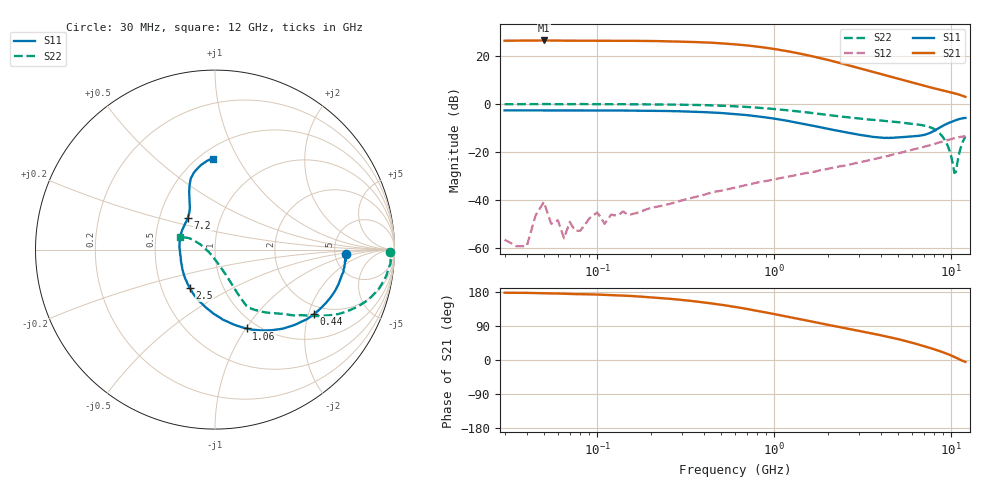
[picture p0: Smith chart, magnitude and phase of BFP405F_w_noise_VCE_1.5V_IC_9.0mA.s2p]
! Infineon Technologies  Discrete & RF Semiconductors
! BFP405F
! VCE =  1.5 V,  IC =  9.0 mA
! Common Emitter S-Parameters:  Nov 2015
# GHz  S  MA  R  50
!  f  S11  S21  S12  S22
! GHz  MAG  ANG  MAG  ANG  MAG  ANG  MAG  ANG
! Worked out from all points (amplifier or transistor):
!   239 points, 30 MHz to 12 GHz, reference 50 ohm
!   highest |S21| = 26.3 dB at 50 MHz (marker M1)
!   |S21| within 3 dB of that: start of sweep to 892.3 MHz
!   unconditionally stable (mu >= 1): 2.301 GHz to end of sweep
!   at 300 MHz: K = 0.13, MSG = 33.0 dB, |S12| = -40.2 dB
!   at 1.88 GHz: K = 0.88, MSG = 23.1 dB, |S12| = -27.5 dB
!   at 12 GHz: K = 1.41, MAG = 4.3 dB, |S12| = -13.4 dB
!   lowest NFmin = 1.60 dB at 450 MHz
!   S11 on the Smith chart (normalised r, x): 30 MHz: 6.28, -0.71; 440 MHz: 1.72, -2.18; 1.06 GHz: 0.89, -1.01; 2.5 GHz: 0.69, -0.32; 7.2 GHz: 0.70, +0.26; 12 GHz: 0.58, +0.79
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0.03  0.7282 -2.1  20.38 177.5  0.0015 158.1  0.9776 -0.7
0.04  0.7281 -3.0  20.44 177.1  0.0011 87.1  0.9797 -1.2
0.05  0.7315 -4.9  20.62 176.0  0.0091 38.3  0.9865 -2.1
0.065  0.7276 -4.8  20.42 174.8  0.0016 122.5  0.9786 -1.9
0.07  0.7266 -5.5  20.43 174.2  0.0035 53.0  0.9813 -2.3
0.085  0.7275 -6.5  20.38 173.5  0.003 101.9  0.9823 -2.8
0.145  0.7207 -11.4  20.3 169.8  0.0053 101.3  0.9787 -5.0
0.24  0.7077 -18.7  19.86 162.7  0.0078 79.9  0.9664 -8.5
0.32  0.6898 -24.5  19.39 157.2  0.0104 82.4  0.9513 -11.1
0.44  0.6594 -33.0  18.51 149.4  0.0143 75.4  0.926 -14.9
0.6  0.6105 -43.5  17.13 140.0  0.018 72.3  0.8848 -19.3
0.8  0.5482 -55.1  15.36 129.8  0.0231 70.8  0.8288 -23.8
1.06  0.4736 -68.1  13.24 118.9  0.0281 67.5  0.7617 -28.4
1.3  0.4139 -78.9  11.57 110.4  0.0324 65.2  0.706 -31.5
1.64  0.3511 -92.6  9.667 101.2  0.0381 63.9  0.6416 -35.1
2.5  0.2566 -123.3  6.599 84.1  0.052 61.8  0.5305 -42.8
3.3  0.2157 -146.1  5.011 73.0  0.065 59.7  0.4761 -47.9
4.5  0.1958 -175.7  3.67 60.1  0.0847 56.3  0.4312 -53.3
7.2  0.2313 131.1  2.306 34.8  0.1308 45.8  0.344 -61.2
9.2  0.3665 113.0  1.842 18.4  0.1698 36.5  0.1741 -65.5
10.4  0.4439 105.4  1.654 8.1  0.1932 29.2  0.0367 -117.9
12  0.507 91.2  1.389 -5.0  0.2129 20.2  0.2101 160.0
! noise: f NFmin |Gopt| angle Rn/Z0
0.45  1.6  0.23  5  0.33
0.9  1.61  0.21  11  0.35
1.5  1.67  0.2  16  0.26
1.9  1.7  0.18  22  0.29
2.4  1.84  0.17  30  0.34
3  1.92  0.15  43  0.31
3.5  1.97  0.13  50  0.3
4.5  2.13  0.1  51  0.2
5.5  2.32  0.05  51  0.05
